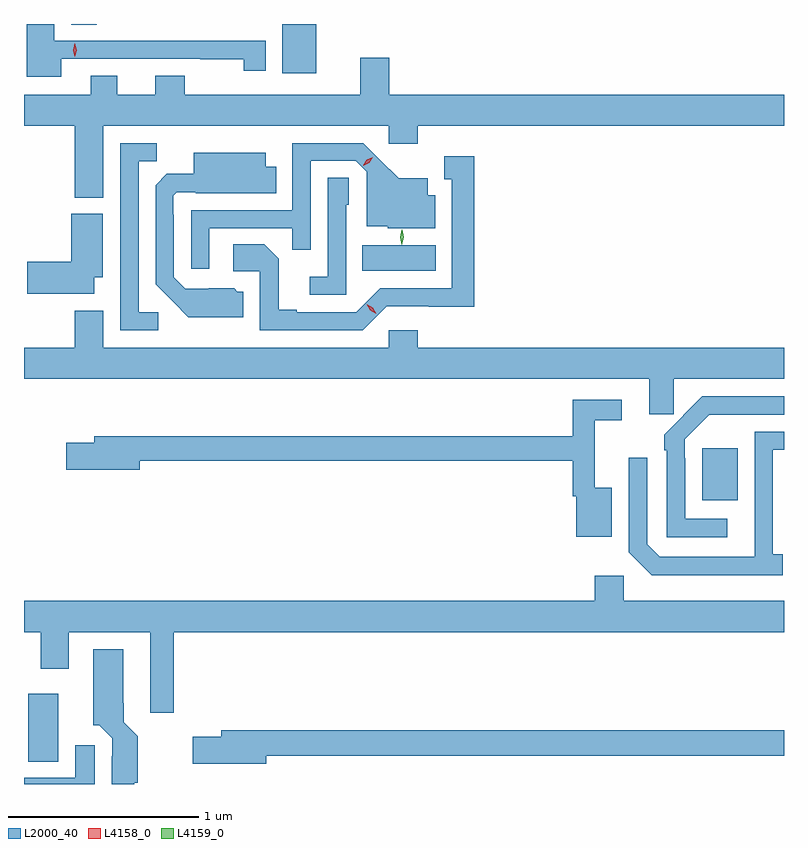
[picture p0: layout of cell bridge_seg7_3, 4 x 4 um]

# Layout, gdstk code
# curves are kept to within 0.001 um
import gdstk
lib = gdstk.Library(unit=1e-6, precision=1e-09)
def R(c, l, rs):  # rectangles x0, y0, x1, y1
    for r in rs: c.add(gdstk.rectangle(r[:2], r[2:], *l))
def P(c, l, *ps):  # polygons
    for p in ps: c.add(gdstk.Polygon(p, *l))
L2000_40 = (2000, 40)
L4158_0 = (4158, 0)
L4159_0 = (4159, 0)

bridge_seg7_3 = lib.new_cell('bridge_seg7_3')
R(bridge_seg7_3, L2000_40, [(1033.823,1073.194,1033.981,1073.551), (1037.369,1074.569,1037.557,1074.844), (1035.58,1075.778,1035.967,1075.912), (1035.158,1076.816,1035.337,1077.076), (1034.048,1077.073,1034.182,1077.076)])
P(bridge_seg7_3, L2000_40, [(1033.996,1076.892),(1034.728,1076.892),(1034.728,1076.891),(1034.956,1076.891),(1034.956,1076.829),(1035.073,1076.829),(1035.073,1076.988),(1033.96,1076.988),(1033.96,1077.076),(1033.814,1077.076),(1033.814,1076.798),(1033.996,1076.798)],
  [(1034.218,1076.54),(1035.72,1076.54),(1035.72,1076.445),(1035.872,1076.445),(1035.872,1076.54),(1037.8,1076.54),(1037.8,1076.704),(1035.722,1076.704),(1035.722,1076.899),(1035.569,1076.899),(1035.569,1076.704),(1034.645,1076.704),(1034.645,1076.803),(1034.492,1076.803),(1034.492,1076.704),(1034.29,1076.704),(1034.29,1076.803),(1034.15,1076.803),(1034.15,1076.704),(1033.8,1076.704),(1033.8,1076.54),(1034.066,1076.54),(1034.066,1076.162),(1034.218,1076.162)],
  [(1034.775,1076.001),(1035.211,1076.001),(1035.211,1075.888),(1035.309,1075.888),(1035.309,1076.355),(1035.546,1076.355),(1035.603,1076.298),(1035.603,1076.012),(1035.714,1076.012),(1035.714,1076),(1035.964,1076),(1035.964,1076.176),(1035.925,1076.176),(1035.925,1076.263),(1035.773,1076.263),(1035.586,1076.448),(1035.213,1076.448),(1035.213,1076.097),(1034.679,1076.097),(1034.679,1075.788),(1034.775,1075.788)],
  [(1034.506,1075.56),(1034.403,1075.56),(1034.403,1076.353),(1034.499,1076.353),(1034.499,1076.448),(1034.307,1076.448),(1034.307,1075.464),(1034.506,1075.464)],
  [(1034.953,1075.668),(1034.922,1075.668),(1034.906,1075.684),(1034.649,1075.683),(1034.589,1075.743),(1034.589,1076.072),(1034.586,1076.072),(1034.586,1076.172),(1034.604,1076.19),(1034.704,1076.19),(1034.704,1076.186),(1035.128,1076.186),(1035.128,1076.326),(1035.073,1076.326),(1035.073,1076.398),(1034.693,1076.398),(1034.693,1076.287),(1034.552,1076.287),(1034.493,1076.228),(1034.493,1075.706),(1034.665,1075.532),(1034.953,1075.532)],
  [(1035.708,1075.59),(1036.171,1075.589),(1036.171,1076.38),(1036.013,1076.38),(1036.013,1076.259),(1036.052,1076.259),(1036.052,1075.686),(1035.675,1075.686),(1035.549,1075.56),(1035.235,1075.56),(1035.235,1075.573),(1035.141,1075.573),(1035.141,1075.84),(1035.065,1075.916),(1034.901,1075.916),(1034.901,1075.776),(1035.042,1075.776),(1035.042,1075.464),(1035.582,1075.464)],
  [(1035.495,1076.124),(1035.51,1076.124),(1035.51,1076.267),(1035.399,1076.267),(1035.399,1075.747),(1035.303,1075.747),(1035.303,1075.65),(1035.495,1075.65)],
  [(1034.17,1075.742),(1034.215,1075.742),(1034.215,1076.077),(1034.048,1076.077),(1034.048,1075.826),(1033.818,1075.826),(1033.818,1075.655),(1034.17,1075.655)],
  [(1037.22,1075.208),(1037.8,1075.208),(1037.8,1075.372),(1035.872,1075.372),(1035.872,1075.465),(1035.72,1075.465),(1035.72,1075.372),(1034.218,1075.372),(1034.218,1075.567),(1034.066,1075.567),(1034.066,1075.372),(1033.8,1075.372),(1033.8,1075.208),(1037.09,1075.208),(1037.09,1075.023),(1037.22,1075.023)],
  [(1037.5,1074.471),(1037.28,1074.471),(1037.28,1074.791),(1037.277,1074.791),(1037.277,1074.891),(1037.406,1075.02),(1037.8,1075.02),(1037.8,1075.116),(1037.37,1075.116),(1037.169,1074.915),(1037.169,1074.833),(1037.184,1074.833),(1037.184,1074.375),(1037.5,1074.375)],
  [(1036.894,1074.634),(1036.805,1074.634),(1036.805,1074.99),(1036.945,1074.99),(1036.945,1075.098),(1036.687,1075.098),(1036.687,1074.907),(1034.171,1074.907),(1034.171,1074.873),(1034.022,1074.873),(1034.022,1074.731),(1034.41,1074.731),(1034.41,1074.778),(1036.687,1074.778),(1036.687,1074.591),(1036.706,1074.591),(1036.706,1074.377),(1036.894,1074.377)],
  [(1037.794,1074.286),(1037.742,1074.286),(1037.742,1074.834),(1037.8,1074.834),(1037.8,1074.93),(1037.646,1074.93),(1037.645,1074.273),(1037.145,1074.273),(1037.079,1074.339),(1037.079,1074.793),(1036.983,1074.793),(1036.983,1074.297),(1037.104,1074.176),(1037.794,1074.176)],
  [(1034.588,1073.876),(1037.8,1073.876),(1037.8,1074.04),(1036.956,1074.04),(1036.956,1074.172),(1036.805,1074.172),(1036.805,1074.04),(1033.8,1074.04),(1033.8,1073.876),(1033.888,1073.876),(1033.888,1073.682),(1034.035,1073.682),(1034.035,1073.876),(1034.465,1073.876),(1034.465,1073.451),(1034.588,1073.451)],
  [(1034.38,1073.082),(1034.398,1073.082),(1034.398,1073.327),(1034.324,1073.401),(1034.323,1073.785),(1034.165,1073.785),(1034.165,1073.386),(1034.195,1073.386),(1034.265,1073.316),(1034.265,1073.222),(1034.261,1073.222),(1034.261,1073.076),(1034.38,1073.076)],
  [(1035.076,1073.224),(1037.8,1073.224),(1037.8,1073.36),(1034.837,1073.36),(1034.837,1073.324),(1034.688,1073.324),(1034.688,1073.182),(1035.076,1073.182)],
  [(1034.173,1073.281),(1034.069,1073.281),(1034.069,1073.109),(1033.8,1073.109),(1033.8,1073.076),(1034.173,1073.076)])
P(bridge_seg7_3, L4158_0, [(1035.654,1075.55),(1035.622,1075.569),(1035.604,1075.601),(1035.604,1075.602),(1035.604,1075.602),(1035.636,1075.583),(1035.654,1075.551),(1035.654,1075.55)],
  [(1035.586,1076.331),(1035.586,1076.332),(1035.604,1076.361),(1035.635,1076.375),(1035.635,1076.375),(1035.635,1076.375),(1035.617,1076.346),(1035.586,1076.331)],
  [(1034.068,1076.903),(1034.068,1076.903),(1034.058,1076.939),(1034.068,1076.975),(1034.068,1076.975),(1034.068,1076.975),(1034.078,1076.939),(1034.068,1076.903)])
P(bridge_seg7_3, L4159_0, [(1035.789,1075.914),(1035.788,1075.915),(1035.779,1075.954),(1035.789,1075.994),(1035.789,1075.994),(1035.79,1075.994),(1035.799,1075.954),(1035.789,1075.915)])

lib.write_gds('bridge_seg7_3.gds')
